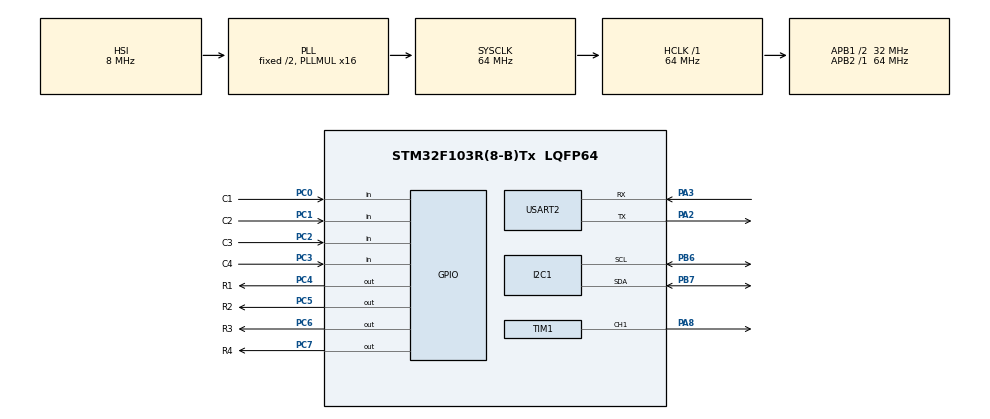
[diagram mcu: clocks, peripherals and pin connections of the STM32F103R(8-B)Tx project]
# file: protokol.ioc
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Mcu.Family=STM32F1
Mcu.Name=STM32F103R(8-B)Tx
Mcu.Package=LQFP64
NVIC.PriorityGroup=NVIC_PRIORITYGROUP_4
NVIC.USART2_IRQn=true\:0\:0\:false\:false\:true\:true\:true
PA13.Mode=Serial_Wire
PA13.Signal=SYS_JTMS-SWDIO
PA14.Mode=Serial_Wire
PA14.Signal=SYS_JTCK-SWCLK
PA2.Mode=Asynchronous
PA2.Signal=USART2_TX
PA3.Mode=Asynchronous
PA3.Signal=USART2_RX
PA8.Signal=S_TIM1_CH1
PB6.Mode=I2C
PB6.Signal=I2C1_SCL
PB7.Mode=I2C
PB7.Signal=I2C1_SDA
PC0.GPIO_Label=C1
PC0.GPIO_PuPd=GPIO_PULLUP
PC0.Signal=GPIO_Input
PC1.GPIO_Label=C2
PC1.GPIO_PuPd=GPIO_PULLUP
PC1.Signal=GPIO_Input
PC2.GPIO_Label=C3
PC2.GPIO_PuPd=GPIO_PULLUP
PC2.Signal=GPIO_Input
PC3.GPIO_Label=C4
PC3.GPIO_PuPd=GPIO_PULLUP
PC3.Signal=GPIO_Input
PC4.GPIO_Label=R1
PC4.Signal=GPIO_Output
PC5.GPIO_Label=R2
PC5.Signal=GPIO_Output
PC6.GPIO_Label=R3
PC6.Signal=GPIO_Output
PC7.GPIO_Label=R4
PC7.Signal=GPIO_Output
PD0-OSC_IN.Mode=HSE-External-Oscillator
PD0-OSC_IN.Signal=RCC_OSC_IN
PD1-OSC_OUT.Mode=HSE-External-Oscillator
PD1-OSC_OUT.Signal=RCC_OSC_OUT
ProjectManager.HeapSize=0x200
ProjectManager.StackSize=0x400
ProjectManager.TargetToolchain=STM32CubeIDE
RCC.AHBFreq_Value=64000000
RCC.APB1CLKDivider=RCC_HCLK_DIV2
RCC.APB1Freq_Value=32000000
RCC.APB1TimFreq_Value=64000000
RCC.APB2Freq_Value=64000000
RCC.APB2TimFreq_Value=64000000
RCC.HCLKFreq_Value=64000000
RCC.PLLMUL=RCC_PLL_MUL16
RCC.SYSCLKFreq_VALUE=64000000
RCC.SYSCLKSource=RCC_SYSCLKSOURCE_PLLCLK
RCC.USBFreq_Value=64000000
SH.S_TIM1_CH1.0=TIM1_CH1,PWM Generation1 CH1
TIM1.AutoReloadPreload=TIM_AUTORELOAD_PRELOAD_ENABLE
TIM1.Channel-PWM\ Generation1\ CH1=TIM_CHANNEL_1
TIM1.Period=19999
TIM1.Prescaler=63
USART2.VirtualMode=VM_ASYNC
board=custom

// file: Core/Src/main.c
/* USER CODE BEGIN Header */
/**
  ******************************************************************************
  * @file           : main.c
  * @brief          : Main program body
  ******************************************************************************
  * @attention
  *
  * <h2><center>&copy; Copyright (c) 2020 STMicroelectronics.
  * All rights reserved.</center></h2>
  *
  * This software component is licensed by ST under BSD 3-Clause license,
  * the "License"; You may not use this file except in compliance with the
  * License. You may obtain a copy of the License at:
  *                        opensource.org/licenses/BSD-3-Clause
  *
  ******************************************************************************
  */
/* USER CODE END Header */
#include "main.h"
#include "i2c.h"
#include "tim.h"
#include "usart.h"
#include "gpio.h"

/* USER CODE BEGIN Includes */
//////////////////////////FLASH
#include "FLASH_PAGE.h"

#include <string.h>
#include <stdio.h>
#include <stdarg.h>
#include <stdbool.h>
#include <math.h>
#include "lcd_i2c.h"
/* USER CODE END Includes */

/* USER CODE BEGIN PD */

#define C1_PORT C1_GPIO_Port
#define C1_PIN C1_Pin
#define C2_PORT C2_GPIO_Port
#define C2_PIN C2_Pin
#define C3_PORT C3_GPIO_Port
#define C3_PIN C3_Pin
#define C4_PORT C4_GPIO_Port
#define C4_PIN C4_Pin

#define R1_PORT R1_GPIO_Port
#define R1_PIN R1_Pin
#define R2_PORT R2_GPIO_Port
#define R2_PIN R2_Pin
#define R3_PORT R3_GPIO_Port
#define R3_PIN R3_Pin
#define R4_PORT R4_GPIO_Port
#define R4_PIN R4_Pin

#define MAX_BUFFER_SIZE 256
#define MAX_COMMAND_SIZE 135
/* USER CODE END PD */

/* USER CODE BEGIN PV */
struct lcd_disp disp;
typedef struct
{
	uint8_t last_rec_char;
	uint8_t rx_buff[MAX_BUFFER_SIZE];
	uint8_t rx_e;
	uint8_t rx_b;
}buff_receiver;

typedef struct
{
	uint8_t tx_buff[MAX_BUFFER_SIZE];
	uint8_t tx_e;
	uint8_t tx_b;
}buff_sender;
buff_receiver buff_rec;
buff_sender buff_send;
uint8_t cmd_pointer = 0;
uint8_t cmd[MAX_COMMAND_SIZE];

uint8_t key[] = {'1','2','3','4'};
char znak;
uint8_t pin[10];
uint8_t pointer_pin = 0;
bool star = 0;
bool open = 0;
uint8_t i = 0;
bool frame_activated = false;
bool bad_char = 0;

uint32_t first_addr = 0x08006800; //ostatnia komórka 31strony
uint8_t rec_char;

/* USER CODE END PV */

void SystemClock_Config(void);

/* USER CODE BEGIN 0 */
__IO uint32_t Rx_Data[4];
uint8_t string[10];
//////////////////////////////////////////FLASH

void encode_frame(char *msg,char *output){
	int length = strlen(msg) + 3;
	int checksum = calc_checksum(msg);
	sprintf (output, "#%02X%s%02X%c\r\n",length, msg, checksum,'$');
}

void fsend(char* format,...){
  char tmp_rs[128];
  int i;
  __IO int idx;
  va_list arglist;
  va_start(arglist,format);
  vsprintf(tmp_rs,format,arglist);
  va_end(arglist);

  char encframe[134] = {0};
  encode_frame(tmp_rs,encframe);

  idx=buff_send.tx_b;
  for(i=0;i<strlen(encframe);i++){
  buff_send.tx_buff[idx]=encframe[i];
  idx++;
  if(idx >= MAX_BUFFER_SIZE)idx=0;
  }
  __disable_irq();
  if((buff_send.tx_e==buff_send.tx_b)&&(__HAL_UART_GET_FLAG(&huart2,UART_FLAG_TXE)==SET)){
  buff_send.tx_e=idx;
  uint8_t tmp=buff_send.tx_buff[buff_send.tx_b];
  buff_send.tx_b++;
  if(buff_send.tx_b >= MAX_BUFFER_SIZE)buff_send.tx_b=0;
  HAL_UART_Transmit_IT(&huart2, &tmp, 1);
  }else{
	  buff_send.tx_e=idx;
  }
  __enable_irq();
  }

int calc_checksum(const char *msg){
    int sum_of_bytes = 0;
    int result = 0;
    for(int i = 0; i < strlen(msg);i++){
        sum_of_bytes = sum_of_bytes + msg[i];
        result = sum_of_bytes %= 256;
    }
    return result;
}

void dec_to_hex(int complimentInt,char* complimentHex)
{
    sprintf(complimentHex,"%X",complimentInt);
}

int hex_to_dec(char* hex)
{
	int decimal = 0;
	  int length = 0;
	  length = 2;
	  char digit;
	  for (int i = 0; i < length; i++)
	    {
	      digit = hex[length - 1 - i];
	      if (digit >= '0' && digit <= '9')
		decimal += (digit - '0') * pow (16, i);
	      else
		decimal += (digit - 'A' + 10) * pow (16, i);
	    }
	  return decimal;
}

void check_cmd()
{
	uint8_t* strippedcommand = &cmd[2];
	if (!strcmp((const char*) strippedcommand,"open;"))
	{
	fsend("Odebrano poprawnie\r\n");
	set_ang(0,0);
	sprintf((char *)disp.s_line, "OTWARTE");
	lcd_display(&disp);
	}
	else if (!strcmp((const char*) strippedcommand,"close;"))
	{
	fsend("Odebrano poprawnie\r\n");
	set_ang(900,0);
	sprintf((char *)disp.s_line, "ZAMKNIETE");
	lcd_display(&disp);
	}
	else fsend("Nie odebrano\r\n");
}

void check_frame()
{
	char frame_lenHex[2] = {cmd[0],cmd[1]};
	int frame_lenInt = hex_to_dec(frame_lenHex);
	if(frame_lenInt > 128 || frame_lenInt < 3)
	{
		memset(cmd,0,sizeof cmd);
		cmd_pointer = 0;
		return;
	}
	int calculated_length = strlen((char*)&cmd[2]) + 1;
		if(frame_lenInt != calculated_length){
			memset(cmd,0,sizeof cmd);
			cmd_pointer = 0;
			return;
		}
	char checksum_from_frame[2] = {cmd[frame_lenInt-1],cmd[frame_lenInt]};
	int  checksum_from_frameInt = hex_to_dec(checksum_from_frame);
	cmd[frame_lenInt-1] = '\0';
	int calculated_checksum = calc_checksum((char*)&cmd[2]);

	if(calculated_checksum == checksum_from_frameInt)
	{
		check_cmd();
	}
	memset(cmd,0,sizeof cmd);
	cmd_pointer = 0;
}
void check_pin()
{

	uint8_t i;
		if(!strcmp(pin, string)){
		  sprintf((char *)disp.f_line, "");
		  lcd_display(&disp);
		  sprintf((char *)disp.s_line, "Otwarte");
		  lcd_display(&disp);
		  set_ang(0,0);
		  pointer_pin = 0;
	      open = 1;
	  }
	  else{
		  sprintf((char *)disp.s_line, "Niepoprawny pin!");
		  lcd_display(&disp);
		  pin[0]=' ';
		  pin[1]=' ';
		  pin[2]=' ';
		  pin[3]=' ';
		  pointer_pin = 0;
		  open = 0;
	  }
}

char read_keypad (void)
{

	star = 0;
	/* Make ROW 1 LOW and all other ROWs HIGH */
	HAL_GPIO_WritePin (R1_GPIO_Port, R1_Pin, GPIO_PIN_RESET);  //Pull the R1 low
	HAL_GPIO_WritePin (R2_GPIO_Port, R2_Pin, GPIO_PIN_SET);  // Pull the R2 High
	HAL_GPIO_WritePin (R3_GPIO_Port, R3_Pin, GPIO_PIN_SET);  // Pull the R3 High
	HAL_GPIO_WritePin (R4_GPIO_Port, R4_Pin, GPIO_PIN_SET);  // Pull the R4 High

	if (!(HAL_GPIO_ReadPin (C1_PORT, C1_PIN)))   // if the Col 1 is low
	{
		return '1';

	}

	if (!(HAL_GPIO_ReadPin (C2_PORT, C2_PIN)))   // if the Col 2 is low
	{
		return '2';
	}

	if (!(HAL_GPIO_ReadPin (C3_PORT, C3_PIN)))   // if the Col 3 is low
	{
		return '3';
	}

	if (!(HAL_GPIO_ReadPin (C4_PORT, C4_PIN)))   // if the Col 4 is low
	{
		return 'A';
	}

	/* Make ROW 2 LOW and all other ROWs HIGH */
	HAL_GPIO_WritePin (R1_PORT, R1_PIN, GPIO_PIN_SET);  //Pull the R1 low
	HAL_GPIO_WritePin (R2_PORT, R2_PIN, GPIO_PIN_RESET);  // Pull the R2 High
	HAL_GPIO_WritePin (R3_PORT, R3_PIN, GPIO_PIN_SET);  // Pull the R3 High
	HAL_GPIO_WritePin (R4_PORT, R4_PIN, GPIO_PIN_SET);  // Pull the R4 High

	if (!(HAL_GPIO_ReadPin (C1_PORT, C1_PIN)))   // if the Col 1 is low
	{
		return '4';
	}

	if (!(HAL_GPIO_ReadPin (C2_PORT, C2_PIN)))   // if the Col 2 is low
	{
		return '5';
	}

	if (!(HAL_GPIO_ReadPin (C3_PORT, C3_PIN)))   // if the Col 3 is low
	{
		return '6';
	}

	if (!(HAL_GPIO_ReadPin (C4_PORT, C4_PIN)))   // if the Col 4 is low
	{
		return 'B';
	}

	/* Make ROW 3 LOW and all other ROWs HIGH */
	HAL_GPIO_WritePin (R1_PORT, R1_PIN, GPIO_PIN_SET);  //Pull the R1 low
	HAL_GPIO_WritePin (R2_PORT, R2_PIN, GPIO_PIN_SET);  // Pull the R2 High
	HAL_GPIO_WritePin (R3_PORT, R3_PIN, GPIO_PIN_RESET);  // Pull the R3 High
	HAL_GPIO_WritePin (R4_PORT, R4_PIN, GPIO_PIN_SET);  // Pull the R4 High

	if (!(HAL_GPIO_ReadPin (C1_PORT, C1_PIN)))   // if the Col 1 is low
	{
		return '7';
	}

	if (!(HAL_GPIO_ReadPin (C2_PORT, C2_PIN)))   // if the Col 2 is low
	{
		return '8';
	}

	if (!(HAL_GPIO_ReadPin (C3_PORT, C3_PIN)))   // if the Col 3 is low
	{
		return '9';
	}

	if (!(HAL_GPIO_ReadPin (C4_PORT, C4_PIN)))   // if the Col 4 is low
	{
		return 'C';
	}

	/* Make ROW 4 LOW and all other ROWs HIGH */
	HAL_GPIO_WritePin (R1_PORT, R1_PIN, GPIO_PIN_SET);  //Pull the R1 low
	HAL_GPIO_WritePin (R2_PORT, R2_PIN, GPIO_PIN_SET);  // Pull the R2 High
	HAL_GPIO_WritePin (R3_PORT, R3_PIN, GPIO_PIN_SET);  // Pull the R3 High
	HAL_GPIO_WritePin (R4_PORT, R4_PIN, GPIO_PIN_RESET);  // Pull the R4 High

	if (!(HAL_GPIO_ReadPin (C1_PORT, C1_PIN)))   // if the Col 1 is low
	{
		star = 1;

		if(open){
				sprintf((char *)disp.f_line,"");
				lcd_display(&disp);
				sprintf((char *)disp.s_line, "WPISZ NOWY PIN");
				lcd_display(&disp);
		}
		return '*';
	}

	if (!(HAL_GPIO_ReadPin (C2_PORT, C2_PIN)))   // if the Col 2 is low
	{
		return '0';
	}

	if (!(HAL_GPIO_ReadPin (C3_PORT, C3_PIN)))   // if the Col 3 is low
	{
		sprintf((char *)disp.f_line, "");
				lcd_display(&disp);
				sprintf((char *)disp.s_line, "ZAMKNIETE");
				lcd_display(&disp);
				set_ang(900,0);

				pin[0]=' ';
				pin[1]=' ';
				pin[2]=' ';
				pin[3]=' ';
				pointer_pin = 0;
				star = 1;
				open = 0;

		return '#';
	}

	if (!(HAL_GPIO_ReadPin (C4_PORT, C4_PIN)))   // if the Col 4 is low
	{
		return 'D';
	}
	return 0;
}

	void check_char(){
		if(rec_char > 34 && rec_char < 126)
		{
			bad_char = 0;
		}
		else{
			bad_char = 1;
		}
	}

/* USER CODE END 0 */

int main(void)
{

  /* MCU Configuration--------------------------------------------------------*/

  /* Reset of all peripherals, Initializes the Flash interface and the Systick. */
  HAL_Init();

  /* Configure the system clock */
  SystemClock_Config();

  /* Initialize all configured peripherals */
  MX_GPIO_Init();
  MX_USART2_UART_Init();
  MX_I2C1_Init();
  MX_TIM1_Init();
  /* USER CODE BEGIN 2 */
  HAL_UART_Receive_IT(&huart2, &buff_rec.last_rec_char, 1);
  HAL_TIM_PWM_Start(&htim1, TIM_CHANNEL_1);
  disp.addr = (0x20 << 1);
  disp.bl = true;
  lcd_init(&disp);
  sprintf((char *)disp.s_line, "ZAMKNIETE");
  lcd_display(&disp);
  set_ang(900,0);

  Flash_Write_Data(first_addr, key);
  Flash_Read_Data(first_addr, Rx_Data);
  Convert_To_Str(Rx_Data, string);

  /* USER CODE END 2 */

  /* Infinite loop */
  /* USER CODE BEGIN WHILE */
  while (1)
  {
	  if(buff_rec.rx_e != buff_rec.rx_b)
	 	    {
			  rec_char = buff_rec.rx_buff[buff_rec.rx_b];
	 		  buff_rec.rx_b++;
	 		  if(buff_rec.rx_b >= MAX_BUFFER_SIZE)
	 		  {
	 			  buff_rec.rx_b = 0;
	 		  }
	 	  	  if(rec_char == '#')
	 	  	  {
	 	  			memset(cmd,0,sizeof cmd);
	 	  			cmd_pointer = 0;
	 	  		frame_activated = true;

	 	  	  }
	 	  	  check_char();
	 	  	  if(bad_char){
	 	  		memset(cmd,0,sizeof cmd);
	 	  		cmd_pointer = 0;
	 	  		frame_activated = false;
	 	  	  }

	 		  if(rec_char == '$' && frame_activated)
	 		  {
	 				 frame_activated = false;
	 				 check_frame();
	 		  }
	 			  if(frame_activated && rec_char != '#' && rec_char != '$' && rec_char > 38 && rec_char < 126)
	 		 		  {
	 		 			  cmd[cmd_pointer] = rec_char;
	 		 			  cmd_pointer++;
	 		 		  }

	 		 		  if(cmd_pointer >= MAX_COMMAND_SIZE)
	 		 		  {
	 		 			  cmd_pointer = 0;
	 		 			  frame_activated = false;
	 		 		  }
	 		 }

	  if((znak = read_keypad())!=0)
	    {
	 	  if(star == 0)
	 	  	{
				pin[pointer_pin] = znak;
				pointer_pin ++;
				switch(pointer_pin){
				case 1:
				sprintf((char *)disp.f_line,"*");
				lcd_display(&disp);
				break;
				case 2:
				sprintf((char *)disp.f_line,"**");
				lcd_display(&disp);
				break;
				case 3:
				sprintf((char *)disp.f_line,"***");
				lcd_display(&disp);
				break;
				case 4:
				sprintf((char *)disp.f_line,"****");
				lcd_display(&disp);
				break;
				}
	 	  	}

		  if(pointer_pin == 4)
			{
			  if(open == 0){
				check_pin();
			  }
			  else{
				Flash_Write_Data(first_addr, pin);
				Flash_Read_Data(first_addr, Rx_Data);
				Convert_To_Str(Rx_Data, string);

				if(pointer_pin >= 4){
				sprintf((char *)disp.s_line,"PIN ZMIENIONY");
				lcd_display(&disp);

				}
			  }
			}
		  if(pointer_pin>=4)
		   {
				pointer_pin = 0;
				pin[0]=' ';
				pin[1]=' ';
				pin[2]=' ';
				pin[3]=' ';
		   }
		  star=0;

	    }

    /* USER CODE END WHILE */

  }
}

void SystemClock_Config(void)
{
  RCC_OscInitTypeDef RCC_OscInitStruct = {0};
  RCC_ClkInitTypeDef RCC_ClkInitStruct = {0};

  /** Initializes the RCC Oscillators according to the specified parameters
  * in the RCC_OscInitTypeDef structure.
  */
  RCC_OscInitStruct.OscillatorType = RCC_OSCILLATORTYPE_HSI;
  RCC_OscInitStruct.HSIState = RCC_HSI_ON;
  RCC_OscInitStruct.HSICalibrationValue = RCC_HSICALIBRATION_DEFAULT;
  RCC_OscInitStruct.PLL.PLLState = RCC_PLL_ON;
  RCC_OscInitStruct.PLL.PLLSource = RCC_PLLSOURCE_HSI_DIV2;
  RCC_OscInitStruct.PLL.PLLMUL = RCC_PLL_MUL16;
  if (HAL_RCC_OscConfig(&RCC_OscInitStruct) != HAL_OK)
  {
    Error_Handler();
  }
  /** Initializes the CPU, AHB and APB buses clocks
  */
  RCC_ClkInitStruct.ClockType = RCC_CLOCKTYPE_HCLK|RCC_CLOCKTYPE_SYSCLK
                              |RCC_CLOCKTYPE_PCLK1|RCC_CLOCKTYPE_PCLK2;
  RCC_ClkInitStruct.SYSCLKSource = RCC_SYSCLKSOURCE_PLLCLK;
  RCC_ClkInitStruct.AHBCLKDivider = RCC_SYSCLK_DIV1;
  RCC_ClkInitStruct.APB1CLKDivider = RCC_HCLK_DIV2;
  RCC_ClkInitStruct.APB2CLKDivider = RCC_HCLK_DIV1;

  if (HAL_RCC_ClockConfig(&RCC_ClkInitStruct, FLASH_LATENCY_2) != HAL_OK)
  {
    Error_Handler();
  }
}

/* USER CODE BEGIN 4 */
void HAL_UART_RxCpltCallback(UART_HandleTypeDef *huart)
{
		buff_rec.rx_buff[buff_rec.rx_e] = buff_rec.last_rec_char;
		buff_rec.rx_e++;
		if(buff_rec.rx_e >= MAX_BUFFER_SIZE)
		{
			buff_rec.rx_e = 0;
		}
		HAL_UART_Receive_IT(&huart2, &buff_rec.last_rec_char, 1);
}
void HAL_UART_TxCpltCallback(UART_HandleTypeDef *huart)
{
			if(buff_send.tx_e != buff_send.tx_b)
			{
				HAL_UART_Transmit_IT(&huart2, &buff_send.tx_buff[buff_send.tx_b], 1);
				buff_send.tx_b++;
				if(buff_send.tx_b >= MAX_BUFFER_SIZE)
				{
					buff_send.tx_b = 0;
				}
			}
}

/* USER CODE END 4 */

void Error_Handler(void)
{
}

/************************ (C) COPYRIGHT STMicroelectronics *****END OF FILE****/
